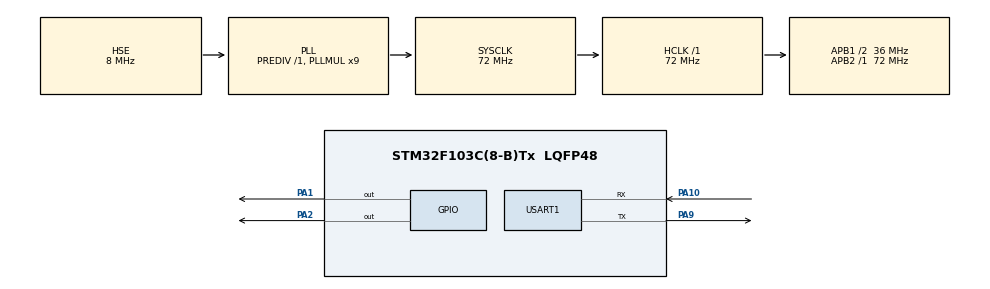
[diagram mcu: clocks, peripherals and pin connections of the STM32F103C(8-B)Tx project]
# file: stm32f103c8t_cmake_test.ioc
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FREERTOS.Tasks01=defaultTask,24,128,StartDefaultTask,Default,NULL,Dynamic,NULL,NULL
Mcu.Family=STM32F1
Mcu.Name=STM32F103C(8-B)Tx
Mcu.Package=LQFP48
NVIC.PriorityGroup=NVIC_PRIORITYGROUP_4
NVIC.TIM2_IRQn=true\:15\:0\:false\:false\:true\:false\:false\:true\:true
NVIC.TimeBase=TIM2_IRQn
NVIC.TimeBaseIP=TIM2
PA1.Signal=GPIO_Output
PA10.Mode=Asynchronous
PA10.Signal=USART1_RX
PA13.Mode=Serial_Wire
PA13.Signal=SYS_JTMS-SWDIO
PA14.Mode=Serial_Wire
PA14.Signal=SYS_JTCK-SWCLK
PA2.Signal=GPIO_Output
PA9.Mode=Asynchronous
PA9.Signal=USART1_TX
PD0-OSC_IN.Mode=HSE-External-Oscillator
PD0-OSC_IN.Signal=RCC_OSC_IN
PD1-OSC_OUT.Mode=HSE-External-Oscillator
PD1-OSC_OUT.Signal=RCC_OSC_OUT
ProjectManager.HeapSize=0x200
ProjectManager.StackSize=0x400
ProjectManager.TargetToolchain=CMake
RCC.AHBFreq_Value=72000000
RCC.APB1CLKDivider=RCC_HCLK_DIV2
RCC.APB1Freq_Value=36000000
RCC.APB1TimFreq_Value=72000000
RCC.APB2Freq_Value=72000000
RCC.APB2TimFreq_Value=72000000
RCC.HCLKFreq_Value=72000000
RCC.PLLMUL=RCC_PLL_MUL9
RCC.PLLSourceVirtual=RCC_PLLSOURCE_HSE
RCC.SYSCLKFreq_VALUE=72000000
RCC.SYSCLKSource=RCC_SYSCLKSOURCE_PLLCLK
RCC.USBFreq_Value=72000000
USART1.VirtualMode=VM_ASYNC
VP_FREERTOS_VS_CMSIS_V2.Mode=CMSIS_V2
VP_SYS_VS_tim2.Mode=TIM2
board=custom

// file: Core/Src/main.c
/* USER CODE BEGIN Header */
/**
 ******************************************************************************
 * @file           : main.c
 * @brief          : Main program body
 ******************************************************************************
 * @attention
 *
 * Copyright (c) 2025 STMicroelectronics.
 * All rights reserved.
 *
 * This software is licensed under terms that can be found in the LICENSE file
 * in the root directory of this software component.
 * If no LICENSE file comes with this software, it is provided AS-IS.
 *
 ******************************************************************************
 */
/* USER CODE END Header */
#include "main.h"
#include "cmsis_os.h"
#include "usart.h"
#include "gpio.h"

/* USER CODE BEGIN Includes */
#include "mymain.h"

/* USER CODE END Includes */

void SystemClock_Config(void);
void MX_FREERTOS_Init(void);

int main(void)
{

  /* MCU Configuration--------------------------------------------------------*/

  /* Reset of all peripherals, Initializes the Flash interface and the Systick. */
  HAL_Init();

  /* Configure the system clock */
  SystemClock_Config();

  /* Initialize all configured peripherals */
  MX_GPIO_Init();
  MX_USART1_UART_Init();
  /* USER CODE BEGIN 2 */

  // mymain();
  char str[] = "hello world\n";

  /* USER CODE END 2 */

  /* Init scheduler */
  osKernelInitialize();

  /* Call init function for freertos objects (in cmsis_os2.c) */
  MX_FREERTOS_Init();

  /* Start scheduler */
  osKernelStart();

  /* We should never get here as control is now taken by the scheduler */

  /* Infinite loop */
  while (1) {

    /* USER CODE BEGIN 3 */
    // HAL_GPIO_TogglePin(GPIOA, GPIO_PIN_1);
    LED1_TOGGLE();
    HAL_Delay(1000);
    HAL_UART_Transmit(&huart1, (uint8_t *)str, sizeof(str) / sizeof(char),
                      1000);
    HAL_Delay(1000);
  }

  /* USER CODE END 3 */
}

void SystemClock_Config(void)
{
  RCC_OscInitTypeDef RCC_OscInitStruct = {0};
  RCC_ClkInitTypeDef RCC_ClkInitStruct = {0};

  /** Initializes the RCC Oscillators according to the specified parameters
  * in the RCC_OscInitTypeDef structure.
  */
  RCC_OscInitStruct.OscillatorType = RCC_OSCILLATORTYPE_HSE;
  RCC_OscInitStruct.HSEState = RCC_HSE_ON;
  RCC_OscInitStruct.HSEPredivValue = RCC_HSE_PREDIV_DIV1;
  RCC_OscInitStruct.HSIState = RCC_HSI_ON;
  RCC_OscInitStruct.PLL.PLLState = RCC_PLL_ON;
  RCC_OscInitStruct.PLL.PLLSource = RCC_PLLSOURCE_HSE;
  RCC_OscInitStruct.PLL.PLLMUL = RCC_PLL_MUL9;
  if (HAL_RCC_OscConfig(&RCC_OscInitStruct) != HAL_OK)
  {
    Error_Handler();
  }

  /** Initializes the CPU, AHB and APB buses clocks
  */
  RCC_ClkInitStruct.ClockType = RCC_CLOCKTYPE_HCLK|RCC_CLOCKTYPE_SYSCLK
                              |RCC_CLOCKTYPE_PCLK1|RCC_CLOCKTYPE_PCLK2;
  RCC_ClkInitStruct.SYSCLKSource = RCC_SYSCLKSOURCE_PLLCLK;
  RCC_ClkInitStruct.AHBCLKDivider = RCC_SYSCLK_DIV1;
  RCC_ClkInitStruct.APB1CLKDivider = RCC_HCLK_DIV2;
  RCC_ClkInitStruct.APB2CLKDivider = RCC_HCLK_DIV1;

  if (HAL_RCC_ClockConfig(&RCC_ClkInitStruct, FLASH_LATENCY_2) != HAL_OK)
  {
    Error_Handler();
  }
}

void HAL_TIM_PeriodElapsedCallback(TIM_HandleTypeDef *htim)
{
  if (htim->Instance == TIM2)
  {
    HAL_IncTick();
  }
}

void Error_Handler(void)
{
  __disable_irq();
  while (1) {
  }
}

#ifdef  USE_FULL_ASSERT
/**
  * @brief  Reports the name of the source file and the source line number
  *         where the assert_param error has occurred.
  * @param  file: pointer to the source file name
  * @param  line: assert_param error line source number
  * @retval None
  */
void assert_failed(uint8_t *file, uint32_t line)
{
  /* USER CODE BEGIN 6 */
  /* User can add his own implementation to report the file name and line
     number, ex: printf("Wrong parameters value: file %s on line %d\r\n", file,
     line) */
  /* USER CODE END 6 */
}
#endif /* USE_FULL_ASSERT */

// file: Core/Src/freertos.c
/* USER CODE BEGIN Header */
/**
  ******************************************************************************
  * File Name          : freertos.c
  * Description        : Code for freertos applications
  ******************************************************************************
  * @attention
  *
  * Copyright (c) 2025 STMicroelectronics.
  * All rights reserved.
  *
  * This software is licensed under terms that can be found in the LICENSE file
  * in the root directory of this software component.
  * If no LICENSE file comes with this software, it is provided AS-IS.
  *
  ******************************************************************************
  */
/* USER CODE END Header */

#include "FreeRTOS.h"
#include "task.h"
#include "main.h"
#include "cmsis_os.h"

/* USER CODE BEGIN Includes */
#include "mymain.h"

/* USER CODE END Includes */

/* Definitions for defaultTask */
osThreadId_t defaultTaskHandle;
const osThreadAttr_t defaultTask_attributes = {
  .name = "defaultTask",
  .stack_size = 128 * 4,
  .priority = (osPriority_t) osPriorityNormal,
};

/* USER CODE BEGIN FunctionPrototypes */
void led1_task(void *argument) {
  /* USER CODE BEGIN led_task */
  /* Infinite loop */
  for(;;) {
    LED1_TOGGLE();
    vTaskDelay(500);
    // osDelay(1);
  }
  /* USER CODE END led_task */
}

void led2_task(void *argument) {
  /* USER CODE BEGIN led_task */
  /* Infinite loop */
  for(;;) {
    LED2_TOGGLE();
    vTaskDelay(500);
    // osDelay(1);
  }
  /* USER CODE END led_task */
}
/* USER CODE END FunctionPrototypes */

void StartDefaultTask(void *argument);

void MX_FREERTOS_Init(void); /* (MISRA C 2004 rule 8.1) */

void MX_FREERTOS_Init(void) {

  /* Create the thread(s) */
  /* creation of defaultTask */
  defaultTaskHandle = osThreadNew(StartDefaultTask, NULL, &defaultTask_attributes);

  /* USER CODE BEGIN RTOS_THREADS */
  /* add threads, ... */
  xTaskCreate(led1_task, "led", 128, NULL, osPriorityNormal, NULL);
  xTaskCreate(led2_task, "led2",128, NULL, osPriorityNormal, NULL);
  vTaskStartScheduler();
  /* USER CODE END RTOS_THREADS */

}

void StartDefaultTask(void *argument)
{
  /* USER CODE BEGIN StartDefaultTask */
  /* Infinite loop */
  for(;;)
  {
    // LED1_TOGGLE();
    // vTaskDelay(1000);
    // osDelay(1);
  }
  /* USER CODE END StartDefaultTask */
}
